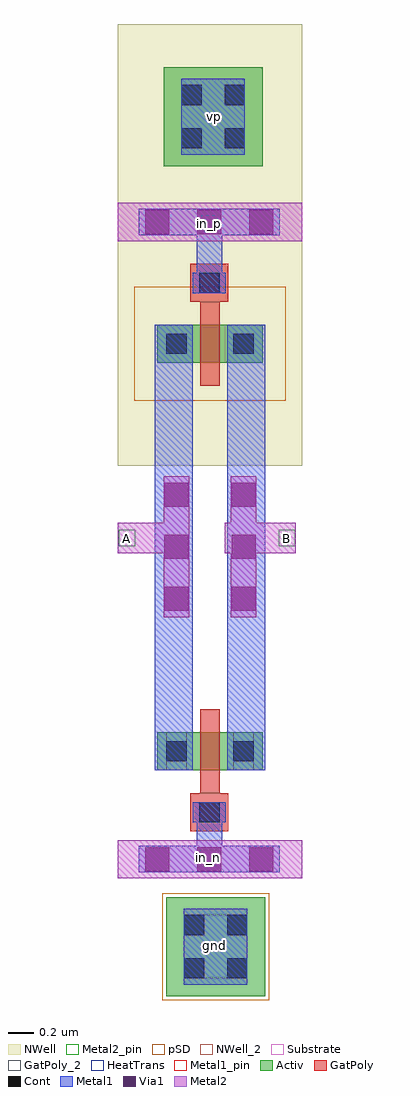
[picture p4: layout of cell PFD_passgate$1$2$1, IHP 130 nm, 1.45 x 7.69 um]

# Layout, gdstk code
import gdstk
lib = gdstk.Library(unit=1e-6, precision=1e-09)
def R(c, l, rs):  # rectangles x0, y0, x1, y1
    for r in rs: c.add(gdstk.rectangle(r[:2], r[2:], *l))
def A(c, l, x, y, w, h, nx, ny, dx, dy):  # array of equal rectangles
    R(c, l, [(x+i*dx, y+j*dy, x+i*dx+w, y+j*dy+h) for i in range(nx) for j in range(ny)])
Activ = (1, 0)
GatPoly = (5, 0)
GatPoly_2 = (5, 2)
Cont = (6, 0)
Metal1 = (8, 0)
Metal1_pin = (8, 2)
Metal2 = (10, 0)
Metal2_pin = (10, 2)
pSD = (14, 0)
Via1 = (19, 0)
NWell = (31, 0)
NWell_2 = (31, 2)
Substrate = (40, 0)
HeatTrans = (51, 0)

pmos_2_1_2_1 = lib.new_cell('pmos$2$1$2$1')
R(pmos_2_1_2_1, Activ, [(0,0,0.3,0.3), (0,0,0.83,0.3), (0.53,0,0.83,0.3)])
R(pmos_2_1_2_1, GatPoly, [(0.34,-0.18,0.49,0.48), (0.34,-0.18,0.49,0.48)])
R(pmos_2_1_2_1, Cont, [(0.07,0.07,0.23,0.23), (0.6,0.07,0.76,0.23)])
R(pmos_2_1_2_1, Metal1, [(0.07,0,0.23,0.3), (0.07,0,0.23,0.3), (0.6,0,0.76,0.3), (0.6,0,0.76,0.3)])
R(pmos_2_1_2_1, pSD, [(-0.18,-0.3,1.01,0.6)])
R(pmos_2_1_2_1, NWell, [(-0.31,-0.31,1.14,0.61)])
R(pmos_2_1_2_1, Substrate, [(0.53,0,0.83,0.3)])
R(pmos_2_1_2_1, HeatTrans, [(0.34,-0.18,0.49,0.48)])
pmos_2_1_2_1.add(gdstk.Label('pmos', (0.415,0.15), layer=63, texttype=0))
pmos_2_1_2_1.add(gdstk.Label('pmos', (0.415,0.15), layer=51, texttype=0))

nmos_2_1_2_1 = lib.new_cell('nmos$2$1$2$1')
R(nmos_2_1_2_1, Activ, [(0,0,0.3,0.3), (0,0,0.83,0.3), (0.53,0,0.83,0.3)])
R(nmos_2_1_2_1, GatPoly, [(0.34,-0.18,0.49,0.48)])
R(nmos_2_1_2_1, GatPoly_2, [(0.34,-0.18,0.49,0.48)])
R(nmos_2_1_2_1, Cont, [(0.07,0.07,0.23,0.23), (0.6,0.07,0.76,0.23)])
R(nmos_2_1_2_1, Metal1, [(0.07,0,0.23,0.3), (0.6,0,0.76,0.3)])
R(nmos_2_1_2_1, Metal1_pin, [(0.07,0,0.23,0.3), (0.6,0,0.76,0.3)])
R(nmos_2_1_2_1, HeatTrans, [(0.34,-0.18,0.49,0.48)])
nmos_2_1_2_1.add(gdstk.Label('nmos', (0.415,0.15), layer=63, texttype=0))
nmos_2_1_2_1.add(gdstk.Label('nmos', (0.415,0.15), layer=51, texttype=0))

ptap1_2_1_2_1 = lib.new_cell('ptap1$2$1$2$1')
R(ptap1_2_1_2_1, Activ, [(0,0,0.78,0.78)])
R(ptap1_2_1_2_1, Cont, [(0.14,0.14,0.3,0.3), (0.48,0.14,0.64,0.3), (0.14,0.48,0.3,0.64), (0.48,0.48,0.64,0.64)])
R(ptap1_2_1_2_1, Metal1, [(0.14,0.09,0.64,0.69), (0.14,0.14,0.64,0.64)])
R(ptap1_2_1_2_1, Metal1_pin, [(0.14,0.14,0.64,0.64)])
R(ptap1_2_1_2_1, pSD, [(-0.03,-0.03,0.81,0.81)])
R(ptap1_2_1_2_1, Substrate, [(0,0,0.78,0.78)])
ptap1_2_1_2_1.add(gdstk.Label('sub!', (0.39,0.01), layer=63, texttype=0))
ptap1_2_1_2_1.add(gdstk.Label('sub!', (0.39,0.01), layer=40, texttype=0))

ntap1_2_1_2_1 = lib.new_cell('ntap1$2$1$2$1')
R(ntap1_2_1_2_1, Activ, [(0,0,0.78,0.78)])
R(ntap1_2_1_2_1, Cont, [(0.14,0.14,0.3,0.3), (0.48,0.14,0.64,0.3), (0.14,0.48,0.3,0.64), (0.48,0.48,0.64,0.64)])
R(ntap1_2_1_2_1, Metal1, [(0.14,0.09,0.64,0.69)])
R(ntap1_2_1_2_1, Metal1_pin, [(0.14,0.09,0.64,0.69), (0.14,0.14,0.64,0.64)])
R(ntap1_2_1_2_1, NWell, [(-0.24,-0.24,1.02,1.02), (0,0,0.78,0.78)])
R(ntap1_2_1_2_1, NWell_2, [(0,0,0.78,0.78)])
ntap1_2_1_2_1.add(gdstk.Label('well', (0.39,0.01), layer=63, texttype=0))
ntap1_2_1_2_1.add(gdstk.Label('well', (0.39,0.01), layer=31, texttype=0))

via_10_1_2_1 = lib.new_cell('Via$10$1$2$1')
R(via_10_1_2_1, Metal1, [(-0.555,-0.105,0.555,0.105)])
R(via_10_1_2_1, Metal2, [(-0.555,-0.1,0.555,0.1)])
A(via_10_1_2_1, Via1, -0.505, -0.095, 0.19, 0.19, 3, 1, 0.41, 0)

via_5_2_1_2_1 = lib.new_cell('Via$5$2$1$2$1')
R(via_5_2_1_2_1, GatPoly, [(-0.15,-0.15,0.15,0.15)])
R(via_5_2_1_2_1, Cont, [(-0.08,-0.08,0.08,0.08)])
R(via_5_2_1_2_1, Metal1, [(-0.13,-0.08,0.13,0.08)])

via_3_1_2_1 = lib.new_cell('Via$3$1$2$1')
R(via_3_1_2_1, Metal1, [(-0.105,-0.555,0.105,0.555)])
R(via_3_1_2_1, Metal2, [(-0.1,-0.555,0.1,0.555)])
A(via_3_1_2_1, Via1, -0.095, -0.505, 0.19, 0.19, 1, 3, 0, 0.41)

pfd_passgate_1_2_1 = lib.new_cell('PFD_passgate$1$2$1')
R(pfd_passgate_1_2_1, Metal1_pin, [(-3.245,-4.395,-3.115,-4.265), (-3.245,2.135,-3.115,2.265)])
R(pfd_passgate_1_2_1, Metal2, [(-3.94,-1.24,-3.38,-1), (-3.1,-1.24,-2.54,-1)])
R(pfd_passgate_1_2_1, Metal2_pin, [(-3.295,-3.705,-3.165,-3.575), (-3.935,-1.185,-3.805,-1.055), (-2.675,-1.185,-2.545,-1.055), (-3.285,1.295,-3.155,1.425)])
R(pfd_passgate_1_2_1, NWell, [(-3.94,-0.55,-2.49,2.83), (-3.94,2.83,-2.49,2.93)])
pfd_passgate_1_2_1.add(gdstk.FlexPath([(-3.94,-3.65),(-2.49,-3.65)], 0.3, ends="flush", simple_path=True, layer=10, datatype=0))  # Metal2
pfd_passgate_1_2_1.add(gdstk.FlexPath([(-3.94,1.37),(-2.49,1.37)], 0.3, ends="flush", simple_path=True, layer=10, datatype=0))  # Metal2
pfd_passgate_1_2_1.add(gdstk.FlexPath([(-2.93,0.56),(-2.93,-2.95)], 0.3, ends="flush", simple_path=True, layer=8, datatype=0))  # Metal1
pfd_passgate_1_2_1.add(gdstk.FlexPath([(-3.5,0.56),(-3.5,-2.95)], 0.3, ends="flush", simple_path=True, layer=8, datatype=0))  # Metal1
pfd_passgate_1_2_1.add(gdstk.FlexPath([(-3.22,0.81),(-3.22,1.33)], 0.2, ends="flush", simple_path=True, layer=8, datatype=0))  # Metal1
pfd_passgate_1_2_1.add(gdstk.FlexPath([(-3.22,-3.72),(-3.22,-3.2)], 0.2, ends="flush", simple_path=True, layer=8, datatype=0))  # Metal1
pfd_passgate_1_2_1.add(gdstk.Reference(pmos_2_1_2_1, (-3.63,0.26)))
pfd_passgate_1_2_1.add(gdstk.Reference(nmos_2_1_2_1, (-3.63,-2.95)))
pfd_passgate_1_2_1.add(gdstk.Reference(ptap1_2_1_2_1, (-3.56,-4.73)))
pfd_passgate_1_2_1.add(gdstk.Reference(ntap1_2_1_2_1, (-3.58,1.81)))
pfd_passgate_1_2_1.add(gdstk.Reference(via_10_1_2_1, (-3.22,1.37)))
pfd_passgate_1_2_1.add(gdstk.Reference(via_5_2_1_2_1, (-3.22,0.89)))
pfd_passgate_1_2_1.add(gdstk.Reference(via_5_2_1_2_1, (-3.22,-3.28)))
pfd_passgate_1_2_1.add(gdstk.Reference(via_10_1_2_1, (-3.22,-3.65)))
pfd_passgate_1_2_1.add(gdstk.Reference(via_3_1_2_1, (-3.48,-1.19)))
pfd_passgate_1_2_1.add(gdstk.Reference(via_3_1_2_1, (-2.95,-1.19)))
pfd_passgate_1_2_1.add(gdstk.Label('in_p', (-3.22,1.36), layer=10, texttype=25))
pfd_passgate_1_2_1.add(gdstk.Label('in_n', (-3.23,-3.64), layer=10, texttype=25))
pfd_passgate_1_2_1.add(gdstk.Label('A', (-3.87,-1.12), layer=10, texttype=25))
pfd_passgate_1_2_1.add(gdstk.Label('B', (-2.61,-1.12), layer=10, texttype=25))
pfd_passgate_1_2_1.add(gdstk.Label('gnd', (-3.18,-4.33), layer=8, texttype=25))
pfd_passgate_1_2_1.add(gdstk.Label('vp', (-3.18,2.2), layer=8, texttype=25))

lib.write_gds('PFD_passgate_1_2_1.gds')
